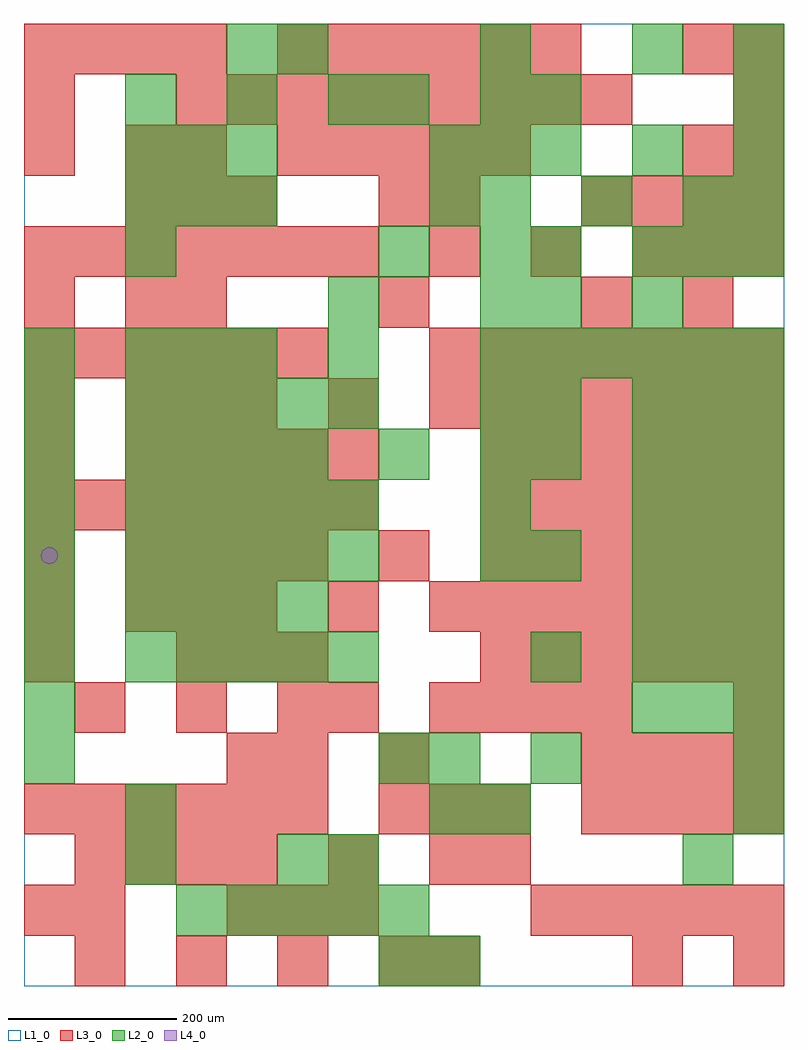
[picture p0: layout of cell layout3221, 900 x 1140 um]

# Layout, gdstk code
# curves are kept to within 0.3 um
import gdstk
lib = gdstk.Library(unit=1e-6, precision=1e-09)
def R(c, l, rs):  # rectangles x0, y0, x1, y1
    for r in rs: c.add(gdstk.rectangle(r[:2], r[2:], *l))
def A(c, l, x, y, w, h, nx, ny, dx, dy):  # array of equal rectangles
    R(c, l, [(x+i*dx, y+j*dy, x+i*dx+w, y+j*dy+h) for i in range(nx) for j in range(ny)])
def P(c, l, *ps):  # polygons
    for p in ps: c.add(gdstk.Polygon(p, *l))
L1_0 = (1, 0)
L2_0 = (2, 0)
L3_0 = (3, 0)
L4_0 = (4, 0)

layout3221 = lib.new_cell('layout3221')
R(layout3221, L1_0, [(0,0,900,1140)])
A(layout3221, L2_0, 180, 60, 60, 60, 5, 1, 60, 0)
A(layout3221, L2_0, 0, 240, 60, 60, 1, 9, 0, 60)
A(layout3221, L2_0, 600, 240, 60, 60, 1, 4, 0, 120)
A(layout3221, L2_0, 720, 300, 60, 60, 3, 7, 60, 60)
A(layout3221, L2_0, 120, 360, 60, 60, 5, 2, 60, 120)
A(layout3221, L2_0, 120, 420, 60, 60, 4, 2, 60, 180)
A(layout3221, L2_0, 540, 480, 60, 60, 1, 4, 0, 60)
A(layout3221, L2_0, 120, 540, 60, 60, 5, 2, 60, 120)
A(layout3221, L2_0, 120, 720, 60, 60, 3, 2, 60, 180)
A(layout3221, L2_0, 540, 720, 60, 60, 6, 1, 60, 0)
A(layout3221, L2_0, 720, 840, 60, 60, 3, 1, 60, 0)
A(layout3221, L2_0, 540, 900, 60, 60, 3, 1, 120, 0)
A(layout3221, L2_0, 840, 900, 60, 60, 1, 4, 0, 60)
A(layout3221, L2_0, 120, 960, 60, 60, 3, 1, 60, 0)
A(layout3221, L2_0, 480, 960, 60, 60, 3, 1, 60, 0)
A(layout3221, L2_0, 120, 1020, 60, 60, 3, 1, 120, 0)
R(layout3221, L2_0, [(420,0,480,60), (480,0,540,60), (120,120,180,180), (300,120,360,180), (360,120,420,180), (780,120,840,180), (120,180,180,240), (480,180,540,240), (540,180,600,240), (840,180,900,240), (420,240,480,300), (480,240,540,300), (840,240,900,300), (420,600,480,660), (600,660,660,720), (360,720,420,780), (360,780,420,840), (540,780,600,840), (600,780,660,840), (720,780,780,840), (120,840,180,900), (420,840,480,900), (540,840,600,900), (600,840,660,900), (480,900,540,960), (720,960,780,1020), (420,1020,480,1080), (540,1020,600,1080), (600,1020,660,1080), (240,1080,300,1140), (300,1080,360,1140), (540,1080,600,1140), (720,1080,780,1140)])
A(layout3221, L3_0, 60, 0, 60, 60, 4, 1, 120, 0)
A(layout3221, L3_0, 240, 60, 60, 60, 3, 1, 60, 0)
A(layout3221, L3_0, 600, 60, 60, 60, 5, 1, 60, 0)
A(layout3221, L3_0, 60, 120, 60, 60, 4, 1, 60, 0)
A(layout3221, L3_0, 0, 180, 60, 60, 6, 2, 60, 540)
A(layout3221, L3_0, 420, 180, 60, 60, 3, 1, 60, 0)
A(layout3221, L3_0, 660, 180, 60, 60, 4, 2, 60, 60)
A(layout3221, L3_0, 60, 300, 60, 60, 3, 1, 120, 0)
A(layout3221, L3_0, 480, 300, 60, 60, 4, 1, 60, 0)
A(layout3221, L3_0, 0, 360, 60, 60, 1, 3, 0, 60)
A(layout3221, L3_0, 180, 360, 60, 60, 3, 1, 60, 0)
A(layout3221, L3_0, 540, 360, 60, 60, 6, 2, 60, 120)
A(layout3221, L3_0, 120, 420, 60, 60, 3, 3, 60, 240)
A(layout3221, L3_0, 480, 420, 60, 60, 7, 2, 60, 240)
A(layout3221, L3_0, 120, 480, 60, 60, 4, 1, 60, 0)
A(layout3221, L3_0, 0, 540, 60, 60, 7, 2, 60, 300)
A(layout3221, L3_0, 540, 540, 60, 60, 6, 2, 60, 60)
A(layout3221, L3_0, 120, 600, 60, 60, 5, 1, 60, 0)
A(layout3221, L3_0, 480, 720, 60, 60, 7, 1, 60, 0)
A(layout3221, L3_0, 180, 780, 60, 60, 3, 1, 240, 0)
A(layout3221, L3_0, 480, 840, 60, 60, 3, 1, 120, 0)
A(layout3221, L3_0, 780, 840, 60, 60, 1, 3, 0, 120)
A(layout3221, L3_0, 660, 900, 60, 60, 4, 1, 60, 0)
A(layout3221, L3_0, 300, 960, 60, 60, 5, 1, 60, 0)
A(layout3221, L3_0, 840, 960, 60, 60, 1, 3, 0, 60)
A(layout3221, L3_0, 180, 1020, 60, 60, 9, 1, 60, 0)
A(layout3221, L3_0, 0, 1080, 60, 60, 4, 1, 60, 0)
A(layout3221, L3_0, 300, 1080, 60, 60, 6, 1, 60, 0)
R(layout3221, L3_0, [(480,0,540,60), (720,0,780,60), (840,0,900,60), (0,60,60,120), (60,60,120,120), (360,120,420,180), (480,120,540,180), (540,120,600,180), (240,240,300,300), (300,240,360,300), (420,240,480,300), (360,300,420,360), (840,300,900,360), (360,420,420,480), (420,480,480,540), (0,600,60,660), (0,660,60,720), (360,660,420,720), (0,780,60,840), (120,780,180,840), (780,780,840,840), (840,840,900,900), (420,900,480,960), (480,900,540,960), (0,960,60,1020), (120,960,180,1020), (180,960,240,1020), (0,1020,60,1080)])
P(layout3221, L4_0, [(40,510),(39.239,513.827),(37.071,517.071),(33.827,519.239),(30,520),(26.173,519.239),(22.929,517.071),(20.761,513.827),(20,510),(20.761,506.173),(22.929,502.929),(26.173,500.761),(30,500),(33.827,500.761),(37.071,502.929),(39.239,506.173)])

lib.write_gds('layout3221.gds')
